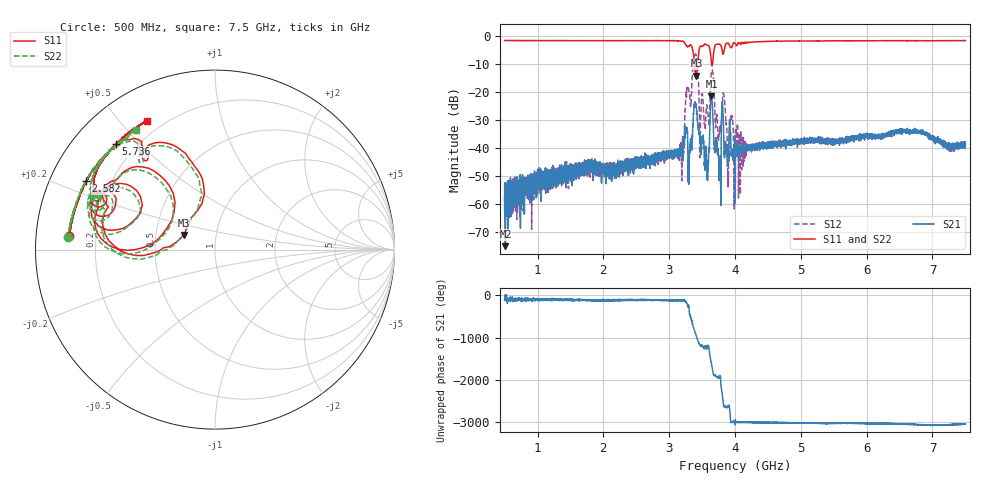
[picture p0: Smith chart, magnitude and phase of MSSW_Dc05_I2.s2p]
!Keysight Technologies,M9374A,MY55442783,A.12.55.05
!Date: Wednesday, May 19, 2021 19:05:33
!Correction: S11(Full 2 Port(1,2))
!S21(Full 2 Port(1,2))
!S12(Full 2 Port(1,2))
!S22(Full 2 Port(1,2))
!S2P File: Measurements: S11, S21, S12, S22:
# Hz S  RI  R 50
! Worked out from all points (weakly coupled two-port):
!   7001 points, 500 MHz to 7.5 GHz, reference 50 ohm
!   highest |S21| = -21.68 dB at 3.642 GHz (marker M1); lowest = -75.0 dB at 512 MHz (marker M2)
!   lowest |S11| = -14.3 dB at 3.414 GHz (marker M3), VSWR 1.48, Z = 34.8 + j5.89 ohm
!   |S11| at or under -10 dB: 3.384 GHz to 3.432 GHz (48.05 MHz wide, 1.41 % of centre); 3.642938 GHz to 3.65867 GHz (15.73 MHz wide, 0.431 % of centre)
!   |S22| runs from -14.2 to -1.7 dB; largest |S21 - S12| = 0.41
!   S11 on the Smith chart (normalised r, x): 500 MHz: 0.10, +0.05; 2.582 GHz: 0.11, +0.25; 5.736 GHz: 0.13, +0.43; 7.5 GHz: 0.14, +0.59
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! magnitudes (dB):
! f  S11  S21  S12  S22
! 500 MHz  -1.8  -53.8  -57.6  -1.7
! 512 MHz  -1.8  -75.0  -58.4  -1.7
! 1.667 GHz  -1.8  -49.7  -46.7  -1.8
! 2.582 GHz  -1.8  -45.8  -44.3  -1.8
! 2.834 GHz  -1.8  -43.5  -42.8  -1.8
! 3.187 GHz  -2.0  -40.9  -43.2  -2.0
! 3.27 GHz  -3.8  -33.1  -18.8  -3.6
! 3.319 GHz  -3.3  -38.7  -23.7  -3.4
! 3.381 GHz  -9.2  -25.4  -7.4  -9.1
! 3.414 GHz  -14.3  -25.4  -7.3  -14.0
! 3.471 GHz  -3.9  -35.8  -37.0  -3.9
! 3.567 GHz  -3.4  -45.4  -25.7  -3.3
! 3.642 GHz  -9.9  -21.7  -13.0  -10.0
! 3.753 GHz  -3.0  -45.5  -36.5  -3.0
! 3.832 GHz  -5.6  -40.2  -21.2  -5.4
! 3.887 GHz  -2.7  -44.4  -42.8  -2.7
! 3.944 GHz  -4.3  -42.3  -29.3  -4.2
! 4 GHz  -2.8  -38.6  -37.3  -2.8
! 5.167 GHz  -1.9  -37.1  -38.0  -1.9
! 5.736 GHz  -1.9  -36.1  -36.3  -1.9
! 6.334 GHz  -1.8  -34.1  -34.8  -2.0
! 7.5 GHz  -1.8  -38.8  -38.6  -1.9
